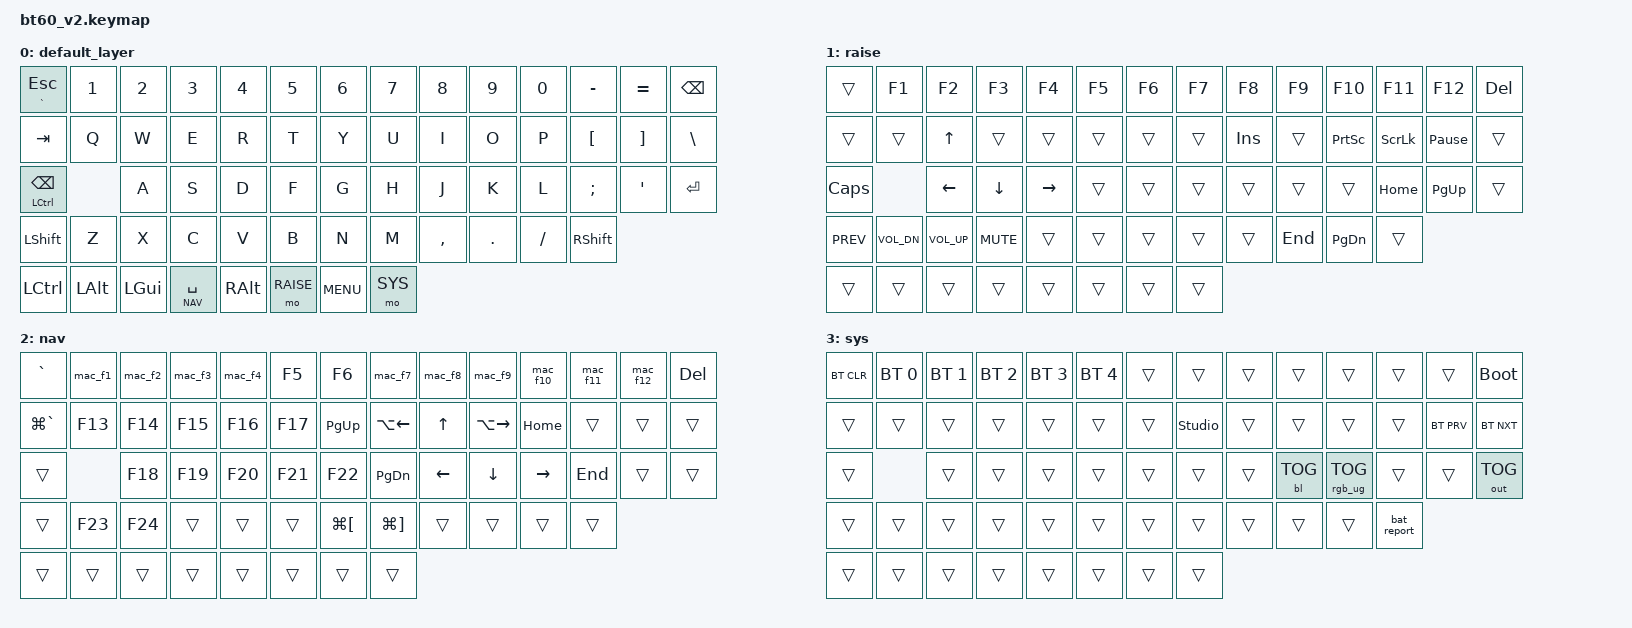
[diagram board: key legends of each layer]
/*
 * Polarity Works BT60 V2 (CKP controller, nRF52840), ANSI layout. ZMK v0.3 board: bt60_v2.
 *
 * Reconstructed 2026-10-10 from the firmware on the board (dumps/2026-10-10_CURRENT.UF2) and built on since.
 * The board build includes an encoder binding (volume); it is left out because there is no knob.
 *
 * Layers (diagrams in LAYOUT.md, regenerate with tools/layout.py):
 *   Base   QWERTY. Caps Lock key = Backspace on tap, Ctrl on hold.
 *   NAV    hold Space (SpaceFn): F1-F12 (Mac actions with Shift), F13-F24 on the left hand, arrows and navigation.
 *   RAISE  hold Fn: F-keys, media, Caps Lock.
 *   SYS    hold right Ctrl: keyboard control (Bluetooth, USB/BT output, bootloader, battery, Studio, lights).
 *          Right Ctrl is no longer a Ctrl key.
 */

#include <behaviors.dtsi>
#include <dt-bindings/zmk/keys.h>
#include <dt-bindings/zmk/bt.h>
#include <dt-bindings/zmk/outputs.h>
#include <dt-bindings/zmk/rgb.h>
#include <dt-bindings/zmk/backlight.h>

#define BASE  0
#define RAISE 1
#define NAV   2
#define SYS   3

/ {
    chosen {
        zmk,physical-layout = &layout_60_ansi;
    };

    behaviors {
        // Caps Lock position: tap = Backspace, hold = Ctrl. Tap then hold quickly to repeat Backspace.
        ctl_bspc: ctl_bspc {
            compatible = "zmk,behavior-hold-tap";
            #binding-cells = <2>;
            flavor = "hold-preferred";
            tapping-term-ms = <200>;
            quick-tap-ms = <175>;
            bindings = <&kp>, <&kp>;
            display-name = "Ctrl / Backspace";
        };

        // Types the battery level and voltage, e.g. "87% 4012mV" (src/behavior_battery_report.c).
        bat_report: battery_report {
            compatible = "zmk,behavior-battery-report";
            #binding-cells = <0>;
            display-name = "Battery report";
        };

        // Types the saved battery discharge log (src/battery_log.c).
        bat_log: battery_log {
            compatible = "zmk,behavior-battery-log";
            #binding-cells = <0>;
            display-name = "Battery log";
        };

        // F1, or with Shift: brightness down
        mac_f1: mac_f1 {
            compatible = "zmk,behavior-mod-morph";
            #binding-cells = <0>;
            bindings = <&kp F1>, <&kp C_BRI_DN>;
            mods = <(MOD_LSFT|MOD_RSFT)>;
        };

        // F2, or with Shift: brightness up
        mac_f2: mac_f2 {
            compatible = "zmk,behavior-mod-morph";
            #binding-cells = <0>;
            bindings = <&kp F2>, <&kp C_BRI_UP>;
            mods = <(MOD_LSFT|MOD_RSFT)>;
        };

        // F3, or with Shift: Mission Control
        mac_f3: mac_f3 {
            compatible = "zmk,behavior-mod-morph";
            #binding-cells = <0>;
            bindings = <&kp F3>, <&kp LC(UP)>;
            mods = <(MOD_LSFT|MOD_RSFT)>;
        };

        // F4, or with Shift: Spotlight
        mac_f4: mac_f4 {
            compatible = "zmk,behavior-mod-morph";
            #binding-cells = <0>;
            bindings = <&kp F4>, <&kp LG(SPACE)>;
            mods = <(MOD_LSFT|MOD_RSFT)>;
        };



        // F7, or with Shift: previous track
        mac_f7: mac_f7 {
            compatible = "zmk,behavior-mod-morph";
            #binding-cells = <0>;
            bindings = <&kp F7>, <&kp C_PREV>;
            mods = <(MOD_LSFT|MOD_RSFT)>;
        };

        // F8, or with Shift: play/pause
        mac_f8: mac_f8 {
            compatible = "zmk,behavior-mod-morph";
            #binding-cells = <0>;
            bindings = <&kp F8>, <&kp C_PP>;
            mods = <(MOD_LSFT|MOD_RSFT)>;
        };

        // F9, or with Shift: next track
        mac_f9: mac_f9 {
            compatible = "zmk,behavior-mod-morph";
            #binding-cells = <0>;
            bindings = <&kp F9>, <&kp C_NEXT>;
            mods = <(MOD_LSFT|MOD_RSFT)>;
        };

        // F10, or with Shift: mute
        mac_f10: mac_f10 {
            compatible = "zmk,behavior-mod-morph";
            #binding-cells = <0>;
            bindings = <&kp F10>, <&kp C_MUTE>;
            mods = <(MOD_LSFT|MOD_RSFT)>;
        };

        // F11, or with Shift: volume down
        mac_f11: mac_f11 {
            compatible = "zmk,behavior-mod-morph";
            #binding-cells = <0>;
            bindings = <&kp F11>, <&kp C_VOL_DN>;
            mods = <(MOD_LSFT|MOD_RSFT)>;
        };

        // F12, or with Shift: volume up
        mac_f12: mac_f12 {
            compatible = "zmk,behavior-mod-morph";
            #binding-cells = <0>;
            bindings = <&kp F12>, <&kp C_VOL_UP>;
            mods = <(MOD_LSFT|MOD_RSFT)>;
        };
    };


    keymap {
        compatible = "zmk,keymap";

        // Base (QWERTY). Esc on tap, ` on hold. Caps Lock key: Backspace on tap, Ctrl on hold. Hold Space for NAV, Fn for RAISE, right Ctrl for SYS.
        default_layer {
            bindings = <
                &mt GRAVE ESC &kp N1   &kp N2   &kp N3        &kp N4   &kp N5    &kp N6     &kp N7    &kp N8    &kp N9  &kp N0   &kp MINUS &kp EQUAL &kp BSPC
                &kp TAB       &kp Q    &kp W    &kp E         &kp R    &kp T     &kp Y      &kp U     &kp I     &kp O   &kp P    &kp LBKT  &kp RBKT  &kp BSLH
                &ctl_bspc LCTRL BSPC     &kp A    &kp S    &kp D         &kp F    &kp G     &kp H      &kp J     &kp K     &kp L   &kp SEMI &kp SQT   &kp RET
                &kp LSHFT     &kp Z    &kp X    &kp C         &kp V    &kp B     &kp N      &kp M     &kp COMMA &kp DOT &kp FSLH &kp RSHFT
                &kp LCTRL     &kp LALT &kp LGUI &lt NAV SPACE &kp RALT &mo RAISE &kp C_MENU &mo SYS
            >;
        };

        // RAISE (hold Fn): F-keys, media, Caps Lock, Insert/Print Screen/Scroll Lock/Pause.
        raise {
            bindings = <
                &trans     &kp F1       &kp F2       &kp F3     &kp F4 &kp F5 &kp F6 &kp F7 &kp F8  &kp F9  &kp F10   &kp F11   &kp F12         &kp DEL
                &trans     &trans       &kp UP       &trans     &trans &trans &trans &trans &kp INS &trans  &kp PSCRN &kp SLCK  &kp PAUSE_BREAK &trans
                &kp CAPS   &kp LEFT     &kp DOWN     &kp RIGHT  &trans &trans &trans &trans &trans  &trans  &kp HOME  &kp PG_UP &trans
                &kp C_PREV &kp C_VOL_DN &kp C_VOL_UP &kp C_MUTE &trans &trans &trans &trans &trans  &kp END &kp PG_DN &trans
                &trans     &trans       &trans       &trans     &trans &trans &trans &trans
            >;
        };

        // NAV (hold Space): arrows on JKL/IK, word jump on U/O, Cmd+` and Cmd+[ / Cmd+].
        // Number row: plain F1-F12; with Shift, the Mac actions (brightness, Mission Control, Spotlight, media, volume).
        // Left hand: F13-F24 for binding in Raycast etc. (Q-T = F13-F17, A-G = F18-F22, Z X = F23 F24).
        // Tab = next window of the same app (Cmd+`).
        nav {
            bindings = <
                &kp GRAVE     &mac_f1 &mac_f2 &mac_f3 &mac_f4 &kp F5  &kp F6       &mac_f7      &mac_f8  &mac_f9       &mac_f10 &mac_f11 &mac_f12 &kp DEL
                &kp LG(GRAVE) &kp F13 &kp F14 &kp F15 &kp F16 &kp F17 &kp PG_UP    &kp LA(LEFT) &kp UP   &kp LA(RIGHT) &kp HOME &trans   &trans   &trans
                &trans        &kp F18 &kp F19 &kp F20 &kp F21 &kp F22 &kp PG_DN    &kp LEFT     &kp DOWN &kp RIGHT     &kp END  &trans   &trans
                &trans        &kp F23 &kp F24 &trans  &trans  &trans  &kp LG(LBKT) &kp LG(RBKT) &trans   &trans        &trans   &trans
                &trans        &trans  &trans  &trans  &trans  &trans  &trans       &trans
            >;
        };

        // SYS (hold right Ctrl): keyboard control. 1-5 = Bluetooth device, ] / \ = previous / next device,
        // Esc = clear current device's pairing, Enter = USB/Bluetooth, Backspace = bootloader,
        // right Shift = type battery level, U = unlock ZMK Studio, K = key backlight on/off, L = underglow on/off.
        sys {
            bindings = <
                &bt BT_CLR &bt BT_SEL 0 &bt BT_SEL 1 &bt BT_SEL 2 &bt BT_SEL 3 &bt BT_SEL 4 &trans &trans         &trans     &trans          &trans &trans      &trans       &bootloader
                &trans     &trans       &trans       &trans       &trans       &trans       &trans &studio_unlock &trans     &trans          &trans &trans      &bt BT_PRV   &bt BT_NXT
                &trans     &trans       &trans       &trans       &trans       &trans       &trans &trans         &bl BL_TOG &rgb_ug RGB_TOG &trans &trans      &out OUT_TOG
                &trans     &trans       &trans       &trans       &trans       &trans       &trans &trans         &trans     &trans          &trans &bat_report
                &trans     &trans       &trans       &trans       &trans       &trans       &trans &trans
            >;
        };
    };
};
